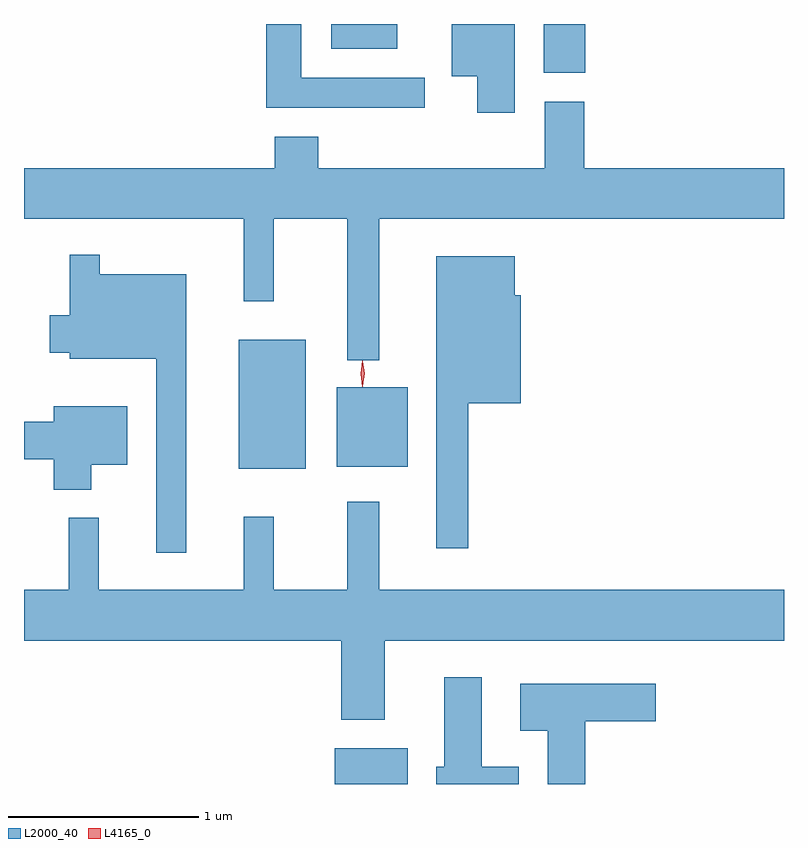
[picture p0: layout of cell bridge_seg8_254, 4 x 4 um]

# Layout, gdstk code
import gdstk
lib = gdstk.Library(unit=1e-6, precision=1e-09)
def R(c, l, rs):  # rectangles x0, y0, x1, y1
    for r in rs: c.add(gdstk.rectangle(r[:2], r[2:], *l))
def P(c, l, *ps):  # polygons
    for p in ps: c.add(gdstk.Polygon(p, *l))
L2000_40 = (2000, 40)
L4165_0 = (4165, 0)

bridge_seg8_254 = lib.new_cell('bridge_seg8_254')
R(bridge_seg8_254, L2000_40, [(1156.566,1831.222,1156.949,1831.409), (1156.061,1832.881,1156.414,1833.559), (1156.576,1832.891,1156.949,1833.309), (1157.666,1834.966,1157.884,1835.222), (1156.546,1835.091,1156.894,1835.222)])
P(bridge_seg8_254, L2000_40, [(1157.038,1834.939),(1156.389,1834.939),(1156.389,1835.222),(1156.206,1835.222),(1156.206,1834.781),(1157.038,1834.781)],
  [(1157.514,1835.222),(1157.181,1835.222),(1157.181,1834.946),(1157.316,1834.946),(1157.316,1834.756),(1157.514,1834.756)],
  [(1156.799,1834.196),(1158.93,1834.196),(1158.93,1834.464),(1157.879,1834.464),(1157.879,1834.814),(1157.671,1834.814),(1157.671,1834.464),(1156.479,1834.464),(1156.479,1834.629),(1156.251,1834.629),(1156.251,1834.464),(1154.93,1834.464),(1154.93,1834.196),(1156.086,1834.196),(1156.086,1833.763),(1156.244,1833.763),(1156.244,1834.196),(1156.631,1834.196),(1156.631,1833.453),(1156.799,1833.453)],
  [(1155.784,1833.904),(1155.329,1833.904),(1155.329,1834.008),(1155.171,1834.008),(1155.171,1833.689),(1155.066,1833.689),(1155.066,1833.491),(1155.171,1833.491),(1155.171,1833.461),(1155.626,1833.461),(1155.626,1832.438),(1155.784,1832.438)],
  [(1157.269,1833.226),(1157.544,1833.226),(1157.544,1833.794),(1157.514,1833.794),(1157.514,1833.999),(1157.101,1833.999),(1157.101,1832.463),(1157.269,1832.463)],
  [(1155.284,1832.901),(1155.474,1832.901),(1155.474,1833.209),(1155.086,1833.209),(1155.086,1833.129),(1154.93,1833.129),(1154.93,1832.931),(1155.086,1832.931),(1155.086,1832.771),(1155.284,1832.771)],
  [(1156.829,1831.976),(1158.93,1831.976),(1158.93,1832.244),(1156.799,1832.244),(1156.799,1832.708),(1156.631,1832.708),(1156.631,1832.244),(1156.244,1832.244),(1156.244,1832.628),(1156.086,1832.628),(1156.086,1832.244),(1155.324,1832.244),(1155.324,1832.623),(1155.166,1832.623),(1155.166,1832.244),(1154.93,1832.244),(1154.93,1831.976),(1156.601,1831.976),(1156.601,1831.561),(1156.829,1831.561)],
  [(1157.534,1831.314),(1157.339,1831.314),(1157.339,1831.784),(1157.141,1831.784),(1157.141,1831.314),(1157.101,1831.314),(1157.101,1831.222),(1157.534,1831.222)],
  [(1157.884,1831.551),(1158.254,1831.551),(1158.254,1831.749),(1157.541,1831.749),(1157.541,1831.501),(1157.686,1831.501),(1157.686,1831.222),(1157.884,1831.222)])
P(bridge_seg8_254, L4165_0, [(1156.71,1833.314),(1156.702,1833.382),(1156.711,1833.45),(1156.712,1833.45),(1156.712,1833.45),(1156.721,1833.382),(1156.712,1833.314),(1156.711,1833.314)],
  [(1156.713,1833.318),(1156.704,1833.382),(1156.713,1833.447),(1156.714,1833.447),(1156.714,1833.447),(1156.724,1833.382),(1156.714,1833.318),(1156.714,1833.318)])

lib.write_gds('bridge_seg8_254.gds')
